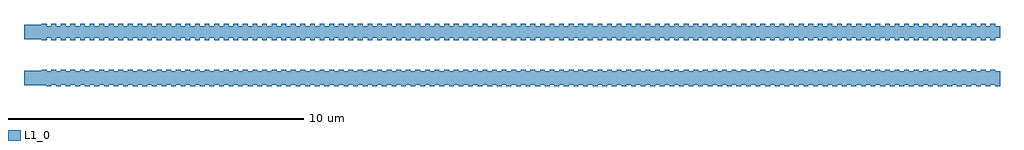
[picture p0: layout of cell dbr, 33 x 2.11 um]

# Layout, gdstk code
import gdstk
lib = gdstk.Library(unit=1e-6, precision=1e-09)
def R(c, l, rs):  # rectangles x0, y0, x1, y1
    for r in rs: c.add(gdstk.rectangle(r[:2], r[2:], *l))
L1_0 = (1, 0)

straight_length0p162_wid = lib.new_cell('straight_length0p162_width0p55')
R(straight_length0p162_wid, L1_0, [(0,-0.275,0.162,0.275)])

c_straight_length0p162_wid = lib.new_cell('straight_length0p162_width0p4')
R(c_straight_length0p162_wid, L1_0, [(0,-0.2,0.162,0.2)])

unnamed_b031560f = lib.new_cell('Unnamed_b031560f')
unnamed_b031560f.add(gdstk.Reference(straight_length0p162_wid, (0,0)))
unnamed_b031560f.add(gdstk.Reference(c_straight_length0p162_wid, (0.162,0)))

straight_length0p6_width = lib.new_cell('straight_length0p6_width0p5')
R(straight_length0p6_width, L1_0, [(0,-0.25,0.6,0.25)])

dbr_5 = lib.new_cell('DBR$5')
r = gdstk.Reference(unnamed_b031560f, (0,0)); r.repetition = gdstk.Repetition(100, 1, v1=(0.324,0), v2=(0,50)); dbr_5.add(r)
dbr_5.add(gdstk.Reference(straight_length0p6_width, (-0.6,0)))

c_straight_length0p162_wid_ = lib.new_cell('straight_length0p162_width0p5')
R(c_straight_length0p162_wid_, L1_0, [(0,-0.25,0.162,0.25)])

unnamed_74bd60a0 = lib.new_cell('Unnamed_74bd60a0')
unnamed_74bd60a0.add(gdstk.Reference(c_straight_length0p162_wid_, (0,0)))
unnamed_74bd60a0.add(gdstk.Reference(c_straight_length0p162_wid_, (0.162,-0.05)))

straight_transformed_81e = lib.new_cell('straight_transformed_81e33fe6')
R(straight_transformed_81e, L1_0, [(0,-0.275,0.162,-0.25)])

corr_dbr_8_offgrid = lib.new_cell('corr_dbr$8_offgrid')
r = gdstk.Reference(unnamed_74bd60a0, (0,0)); r.repetition = gdstk.Repetition(100, 1, v1=(0.324,0), v2=(0,50)); corr_dbr_8_offgrid.add(r)
corr_dbr_8_offgrid.add(gdstk.Reference(straight_length0p6_width, (-0.6,-0.025)))
corr_dbr_8_offgrid.add(gdstk.Reference(straight_transformed_81e, (0,0)))

dbr = lib.new_cell('dbr')
dbr.add(gdstk.Reference(dbr_5, (0,0.766)))
dbr.add(gdstk.Reference(corr_dbr_8_offgrid, (0,-0.766)))

lib.write_gds('dbr.gds')
